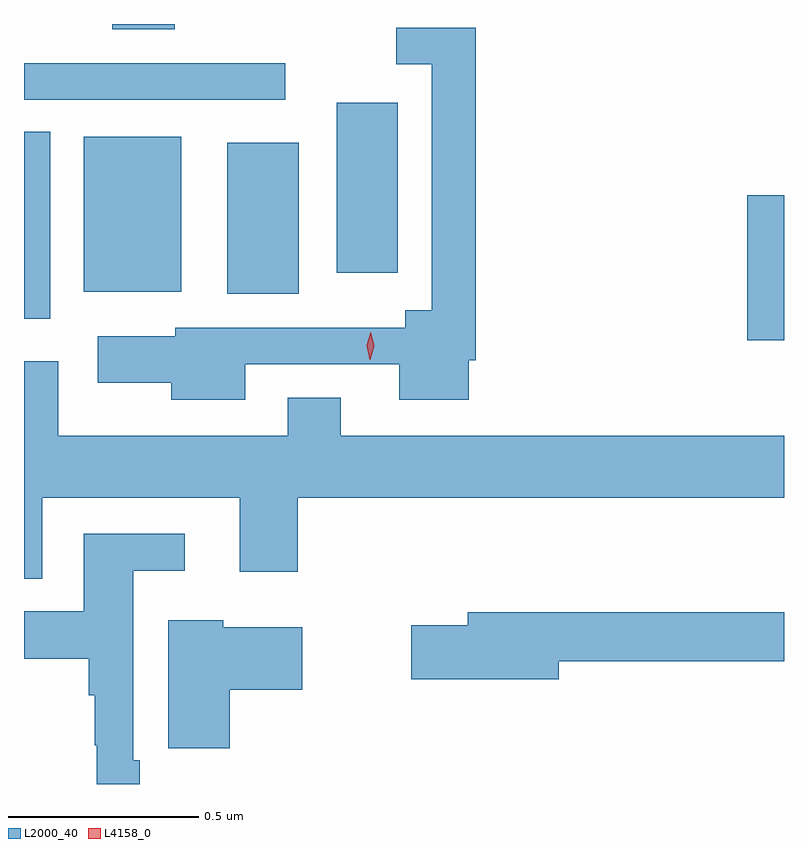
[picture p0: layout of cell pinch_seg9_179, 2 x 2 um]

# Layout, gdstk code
import gdstk
lib = gdstk.Library(unit=1e-6, precision=1e-09)
def R(c, l, rs):  # rectangles x0, y0, x1, y1
    for r in rs: c.add(gdstk.rectangle(r[:2], r[2:], *l))
def P(c, l, *ps):  # polygons
    for p in ps: c.add(gdstk.Polygon(p, *l))
L2000_40 = (2000, 40)
L4158_0 = (4158, 0)

pinch_seg9_179 = lib.new_cell('pinch_seg9_179')
R(pinch_seg9_179, L2000_40, [(798.92,1167.531,799.017,1167.912), (797.017,1167.588,797.086,1168.079), (797.552,1167.653,797.74,1168.051), (797.174,1167.659,797.431,1168.066), (797.84,1167.708,798.001,1168.156), (797.017,1168.164,797.704,1168.26), (797.249,1168.349,797.414,1168.363)])
P(pinch_seg9_179, L2000_40, [(797.599,1167.468),(798.005,1167.468),(798.005,1167.374),(798.187,1167.374),(798.187,1167.478),(798.206,1167.478),(798.206,1168.353),(797.997,1168.353),(797.997,1168.257),(798.09,1168.257),(798.09,1167.61),(798.02,1167.61),(798.02,1167.564),(797.415,1167.564),(797.415,1167.541),(797.211,1167.541),(797.211,1167.419),(797.404,1167.419),(797.404,1167.374),(797.599,1167.374)],
  [(797.065,1167.116),(797.585,1167.116),(797.585,1166.922),(797.738,1166.922),(797.738,1167.116),(799.017,1167.116),(799.017,1167.28),(797.851,1167.28),(797.851,1167.379),(797.711,1167.379),(797.711,1167.28),(797.107,1167.28),(797.107,1167.475),(797.017,1167.475),(797.017,1166.903),(797.065,1166.903)],
  [(797.322,1166.425),(797.304,1166.425),(797.304,1166.924),(797.44,1166.924),(797.44,1167.021),(797.174,1167.021),(797.174,1166.818),(797.017,1166.818),(797.017,1166.693),(797.188,1166.693),(797.188,1166.597),(797.203,1166.597),(797.203,1166.465),(797.208,1166.465),(797.208,1166.363),(797.322,1166.363)],
  [(798.424,1166.686),(799.017,1166.686),(799.017,1166.815),(798.185,1166.815),(798.185,1166.781),(798.036,1166.781),(798.036,1166.639),(798.424,1166.639)],
  [(797.558,1166.611),(797.749,1166.611),(797.749,1166.776),(797.541,1166.776),(797.541,1166.794),(797.396,1166.794),(797.396,1166.457),(797.558,1166.457)])
P(pinch_seg9_179, L4158_0, [(797.927,1167.48),(797.927,1167.48),(797.919,1167.517),(797.93,1167.552),(797.93,1167.552),(797.93,1167.552),(797.939,1167.516),(797.928,1167.48)])

lib.write_gds('pinch_seg9_179.gds')
